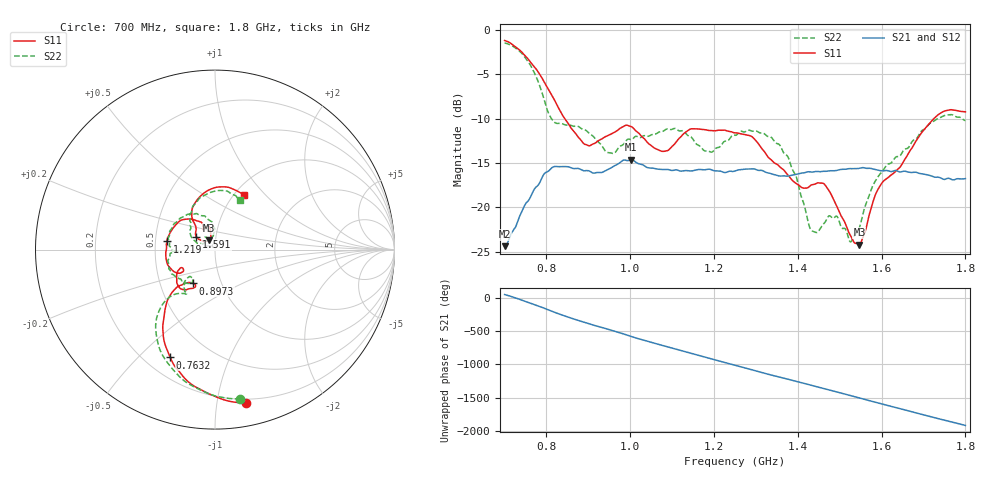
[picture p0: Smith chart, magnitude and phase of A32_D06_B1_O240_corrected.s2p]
! Created with skrf 1.9.0 (http://scikit-rf.org).
# Hz S RI R 50.0
!freq ReS11 ImS11 ReS21 ImS21 ReS12 ImS12 ReS22 ImS22
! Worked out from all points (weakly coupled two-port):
!   1601 points, 700 MHz to 1.8 GHz, reference 50 ohm
!   highest |S21| = -14.63 dB at 1.002 GHz (marker M1); lowest = -24.4 dB at 700.7 MHz (marker M2)
!   lowest |S11| = -24.2 dB at 1.547 GHz (marker M3), VSWR 1.13, Z = 46.4 + j4.74 ohm
!   |S11| at or under -10 dB: 843.6 MHz to 1.725 GHz (881 MHz wide, 68.6 % of centre)
!   |S22| runs from -23.9 to -1.5 dB; largest |S21 - S12| = 0.0035
!   S11 on the Smith chart (normalised r, x): 700 MHz: 0.17, -1.21; 763.2 MHz: 0.30, -0.62; 897.3 MHz: 0.73, -0.29; 1.219 GHz: 0.57, +0.06; 1.591 GHz: 0.80, +0.12; 1.8 GHz: 1.11, +0.77
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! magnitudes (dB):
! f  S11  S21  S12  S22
! 700 MHz  -1.2  -24.4  -24.1  -1.5
! 700.7 MHz  -1.2  -24.4  -24.1  -1.5
! 763.2 MHz  -3.7  -18.7  -18.7  -4.1
! 814.8 MHz  -7.5  -15.5  -15.5  -10.2
! 883.6 MHz  -12.5  -15.8  -15.7  -11.1
! 897.3 MHz  -13.0  -15.8  -15.9  -11.4
! 954.4 MHz  -11.7  -15.5  -15.5  -13.9
! 1.002 GHz  -10.9  -14.6  -14.7  -12.4
! 1.067 GHz  -13.5  -15.7  -15.6  -11.6
! 1.219 GHz  -11.3  -16.0  -16.0  -12.9
! 1.25 GHz  -11.6  -15.9  -15.8  -11.9
! 1.357 GHz  -15.4  -16.5  -16.4  -13.0
! 1.395 GHz  -17.3  -16.3  -16.3  -16.4
! 1.434 GHz  -17.4  -16.0  -16.0  -22.6
! 1.467 GHz  -17.6  -15.9  -15.9  -21.5
! 1.493 GHz  -19.8  -15.8  -15.8  -21.0
! 1.526 GHz  -23.2  -15.6  -15.6  -23.9
! 1.547 GHz  -24.2  -15.6  -15.6  -22.3
! 1.591 GHz  -18.0  -15.8  -15.8  -16.6
! 1.617 GHz  -16.6  -15.9  -15.9  -15.1
! 1.732 GHz  -9.7  -16.6  -16.6  -10.1
! 1.8 GHz  -9.2  -16.8  -16.7  -10.2
